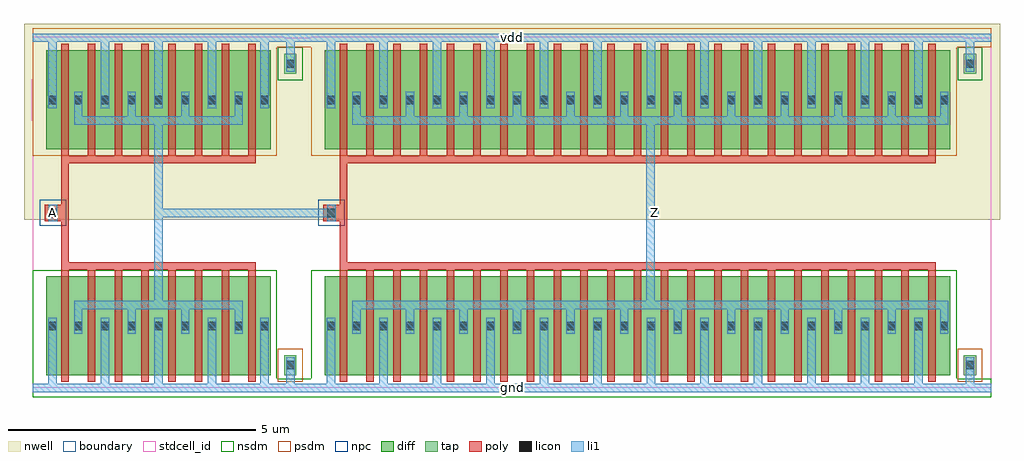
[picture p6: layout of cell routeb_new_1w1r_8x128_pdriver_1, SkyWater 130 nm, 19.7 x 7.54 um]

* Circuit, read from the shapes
.subckt routeb_new_1w1r_8x128_pdriver_1 A Z gnd vdd
XM1 routeb_new_1w1r_8x128_pinv_8_1/A A gnd gnd sky130_fd_pr__nfet_01v8 w=2 l=0.15 m=8
XM2 Z routeb_new_1w1r_8x128_pinv_8_1/A gnd gnd sky130_fd_pr__nfet_01v8 w=2 l=0.15 m=23
XM3 routeb_new_1w1r_8x128_pinv_8_1/A A vdd vdd sky130_fd_pr__pfet_01v8 w=2 l=0.15 m=8
XM4 Z routeb_new_1w1r_8x128_pinv_8_1/A vdd vdd sky130_fd_pr__pfet_01v8 w=2 l=0.15 m=23
.ends

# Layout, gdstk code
import gdstk
lib = gdstk.Library(unit=1e-6, precision=1e-09)
def R(c, l, rs):  # rectangles x0, y0, x1, y1
    for r in rs: c.add(gdstk.rectangle(r[:2], r[2:], *l))
def A(c, l, x, y, w, h, nx, ny, dx, dy):  # array of equal rectangles
    R(c, l, [(x+i*dx, y+j*dy, x+i*dx+w, y+j*dy+h) for i in range(nx) for j in range(ny)])
nwell = (64, 20)
diff = (65, 20)
tap = (65, 44)
poly = (66, 20)
licon = (66, 44)
li1 = (67, 20)
stdcell_id = (81, 4)
nsdm = (93, 44)
psdm = (94, 20)
npc = (95, 20)
boundary = (235, 4)

routeb_new_1w1r_8x128_co = lib.new_cell('routeb_new_1w1r_8x128_contact_11')
R(routeb_new_1w1r_8x128_co, nwell, [(-0.295,-0.255,0.545,0.585)])
R(routeb_new_1w1r_8x128_co, diff, [(0,0.02,0.25,0.31)])
R(routeb_new_1w1r_8x128_co, licon, [(0.04,0.08,0.21,0.25)])
R(routeb_new_1w1r_8x128_co, li1, [(0.04,0,0.21,0.33)])
R(routeb_new_1w1r_8x128_co, stdcell_id, [(-0.295,-0.255,0.545,0.585)])
R(routeb_new_1w1r_8x128_co, psdm, [(-0.125,-0.105,0.375,0.435)])
R(routeb_new_1w1r_8x128_co, boundary, [(-0.295,-0.255,0.545,0.585)])

routeb_new_1w1r_8x128_pm = lib.new_cell('routeb_new_1w1r_8x128_pmos_m8_w2_000_sli_dli_da_p')
R(routeb_new_1w1r_8x128_pm, nwell, [(-0.27,-0.27,4.8,2.27)])
R(routeb_new_1w1r_8x128_pm, diff, [(0,0,4.53,2)])
A(routeb_new_1w1r_8x128_pm, poly, 0.3, -0.13, 0.15, 2.26, 8, 1, 0.54, 0)
R(routeb_new_1w1r_8x128_pm, poly, [(0.3,-0.28,4.23,-0.13)])
A(routeb_new_1w1r_8x128_pm, li1, 0.56, 0.58, 0.17, 0.42, 4, 1, 1.08, 0)
A(routeb_new_1w1r_8x128_pm, li1, 1.1, 0.835, 0.17, 0.33, 3, 1, 1.08, 0)
R(routeb_new_1w1r_8x128_pm, li1, [(0.56,0.495,3.97,0.665), (0.04,0.835,0.21,1.165), (4.32,0.835,4.49,1.165)])
R(routeb_new_1w1r_8x128_pm, stdcell_id, [(-0.27,-0.28,4.8,2.27)])
R(routeb_new_1w1r_8x128_pm, psdm, [(-0.125,-0.125,4.655,2.125)])
R(routeb_new_1w1r_8x128_pm, boundary, [(-0.27,-0.28,4.8,2.27)])
routeb_new_1w1r_8x128_pm.add(gdstk.Reference(routeb_new_1w1r_8x128_co, (0,0.835)))
routeb_new_1w1r_8x128_pm.add(gdstk.Reference(routeb_new_1w1r_8x128_co, (0.52,0.835)))
routeb_new_1w1r_8x128_pm.add(gdstk.Reference(routeb_new_1w1r_8x128_co, (1.06,0.835)))
routeb_new_1w1r_8x128_pm.add(gdstk.Reference(routeb_new_1w1r_8x128_co, (1.6,0.835)))
routeb_new_1w1r_8x128_pm.add(gdstk.Reference(routeb_new_1w1r_8x128_co, (2.14,0.835)))
routeb_new_1w1r_8x128_pm.add(gdstk.Reference(routeb_new_1w1r_8x128_co, (2.68,0.835)))
routeb_new_1w1r_8x128_pm.add(gdstk.Reference(routeb_new_1w1r_8x128_co, (3.22,0.835)))
routeb_new_1w1r_8x128_pm.add(gdstk.Reference(routeb_new_1w1r_8x128_co, (3.76,0.835)))
routeb_new_1w1r_8x128_pm.add(gdstk.Reference(routeb_new_1w1r_8x128_co, (4.28,0.835)))
routeb_new_1w1r_8x128_pm.add(gdstk.Label('G', (2.265,-0.205), layer=66, texttype=5))
routeb_new_1w1r_8x128_pm.add(gdstk.Label('S', (2.265,1), layer=67, texttype=5))
routeb_new_1w1r_8x128_pm.add(gdstk.Label('S', (4.405,1), layer=67, texttype=5))
routeb_new_1w1r_8x128_pm.add(gdstk.Label('S', (0.125,1), layer=67, texttype=5))
routeb_new_1w1r_8x128_pm.add(gdstk.Label('S', (1.185,1), layer=67, texttype=5))
routeb_new_1w1r_8x128_pm.add(gdstk.Label('S', (3.345,1), layer=67, texttype=5))
routeb_new_1w1r_8x128_pm.add(gdstk.Label('D', (2.265,0.58), layer=67, texttype=5))

c_routeb_new_1w1r_8x128_co = lib.new_cell('routeb_new_1w1r_8x128_contact_10')
R(c_routeb_new_1w1r_8x128_co, diff, [(0,0.02,0.25,0.31)])
R(c_routeb_new_1w1r_8x128_co, licon, [(0.04,0.08,0.21,0.25)])
R(c_routeb_new_1w1r_8x128_co, li1, [(0.04,0,0.21,0.33)])
R(c_routeb_new_1w1r_8x128_co, stdcell_id, [(-0.125,-0.105,0.375,0.435)])
R(c_routeb_new_1w1r_8x128_co, nsdm, [(-0.125,-0.105,0.375,0.435)])
R(c_routeb_new_1w1r_8x128_co, boundary, [(-0.125,-0.105,0.375,0.435)])

routeb_new_1w1r_8x128_nm = lib.new_cell('routeb_new_1w1r_8x128_nmos_m8_w2_000_sli_dli_da_p')
R(routeb_new_1w1r_8x128_nm, diff, [(0,0,4.53,2)])
A(routeb_new_1w1r_8x128_nm, poly, 0.3, -0.13, 0.15, 2.26, 8, 1, 0.54, 0)
R(routeb_new_1w1r_8x128_nm, poly, [(0.3,2.13,4.23,2.28)])
A(routeb_new_1w1r_8x128_nm, li1, 1.1, 0.835, 0.17, 0.33, 3, 1, 1.08, 0)
A(routeb_new_1w1r_8x128_nm, li1, 0.56, 1, 0.17, 0.42, 4, 1, 1.08, 0)
R(routeb_new_1w1r_8x128_nm, li1, [(0.04,0.835,0.21,1.165), (4.32,0.835,4.49,1.165), (0.56,1.335,3.97,1.505)])
R(routeb_new_1w1r_8x128_nm, stdcell_id, [(-0.125,-0.13,4.655,2.28)])
R(routeb_new_1w1r_8x128_nm, nsdm, [(-0.125,-0.125,4.655,2.125)])
R(routeb_new_1w1r_8x128_nm, boundary, [(-0.125,-0.13,4.655,2.28)])
routeb_new_1w1r_8x128_nm.add(gdstk.Reference(c_routeb_new_1w1r_8x128_co, (0,0.835)))
routeb_new_1w1r_8x128_nm.add(gdstk.Reference(c_routeb_new_1w1r_8x128_co, (0.52,0.835)))
routeb_new_1w1r_8x128_nm.add(gdstk.Reference(c_routeb_new_1w1r_8x128_co, (1.06,0.835)))
routeb_new_1w1r_8x128_nm.add(gdstk.Reference(c_routeb_new_1w1r_8x128_co, (1.6,0.835)))
routeb_new_1w1r_8x128_nm.add(gdstk.Reference(c_routeb_new_1w1r_8x128_co, (2.14,0.835)))
routeb_new_1w1r_8x128_nm.add(gdstk.Reference(c_routeb_new_1w1r_8x128_co, (2.68,0.835)))
routeb_new_1w1r_8x128_nm.add(gdstk.Reference(c_routeb_new_1w1r_8x128_co, (3.22,0.835)))
routeb_new_1w1r_8x128_nm.add(gdstk.Reference(c_routeb_new_1w1r_8x128_co, (3.76,0.835)))
routeb_new_1w1r_8x128_nm.add(gdstk.Reference(c_routeb_new_1w1r_8x128_co, (4.28,0.835)))
routeb_new_1w1r_8x128_nm.add(gdstk.Label('G', (2.265,2.205), layer=66, texttype=5))
routeb_new_1w1r_8x128_nm.add(gdstk.Label('S', (2.265,1), layer=67, texttype=5))
routeb_new_1w1r_8x128_nm.add(gdstk.Label('S', (4.405,1), layer=67, texttype=5))
routeb_new_1w1r_8x128_nm.add(gdstk.Label('S', (0.125,1), layer=67, texttype=5))
routeb_new_1w1r_8x128_nm.add(gdstk.Label('S', (1.185,1), layer=67, texttype=5))
routeb_new_1w1r_8x128_nm.add(gdstk.Label('S', (3.345,1), layer=67, texttype=5))
routeb_new_1w1r_8x128_nm.add(gdstk.Label('D', (2.265,1.42), layer=67, texttype=5))

c_routeb_new_1w1r_8x128_co_ = lib.new_cell('routeb_new_1w1r_8x128_contact_24')
R(c_routeb_new_1w1r_8x128_co_, nwell, [(-0.295,-0.215,0.545,0.625)])
R(c_routeb_new_1w1r_8x128_co_, tap, [(0,0,0.25,0.41)])
R(c_routeb_new_1w1r_8x128_co_, licon, [(0.04,0.12,0.21,0.29)])
R(c_routeb_new_1w1r_8x128_co_, li1, [(0.04,0.04,0.21,0.37)])
R(c_routeb_new_1w1r_8x128_co_, stdcell_id, [(-0.295,-0.215,0.545,0.625)])
R(c_routeb_new_1w1r_8x128_co_, nsdm, [(-0.125,-0.125,0.375,0.535)])
R(c_routeb_new_1w1r_8x128_co_, boundary, [(-0.295,-0.215,0.545,0.625)])

c_routeb_new_1w1r_8x128_co__ = lib.new_cell('routeb_new_1w1r_8x128_contact_25')
R(c_routeb_new_1w1r_8x128_co__, tap, [(0,0,0.25,0.41)])
R(c_routeb_new_1w1r_8x128_co__, licon, [(0.04,0.12,0.21,0.29)])
R(c_routeb_new_1w1r_8x128_co__, li1, [(0.04,0.04,0.21,0.37)])
R(c_routeb_new_1w1r_8x128_co__, stdcell_id, [(-0.125,-0.125,0.375,0.535)])
R(c_routeb_new_1w1r_8x128_co__, psdm, [(-0.125,-0.125,0.375,0.535)])
R(c_routeb_new_1w1r_8x128_co__, boundary, [(-0.125,-0.125,0.375,0.535)])

c_routeb_new_1w1r_8x128_co___ = lib.new_cell('routeb_new_1w1r_8x128_contact_15')
R(c_routeb_new_1w1r_8x128_co___, poly, [(0,0,0.33,0.33)])
R(c_routeb_new_1w1r_8x128_co___, licon, [(0.08,0.08,0.25,0.25)])
R(c_routeb_new_1w1r_8x128_co___, li1, [(0.08,0,0.25,0.33)])
R(c_routeb_new_1w1r_8x128_co___, stdcell_id, [(-0.1,-0.1,0.43,0.43)])
R(c_routeb_new_1w1r_8x128_co___, npc, [(-0.1,-0.1,0.43,0.43)])
R(c_routeb_new_1w1r_8x128_co___, boundary, [(-0.1,-0.1,0.43,0.43)])

routeb_new_1w1r_8x128_pi = lib.new_cell('routeb_new_1w1r_8x128_pinv_7')
R(routeb_new_1w1r_8x128_pi, nwell, [(-0.18,3.395,5.8,7.355)])
R(routeb_new_1w1r_8x128_pi, poly, [(0.57,2.535,0.72,4.535), (0.405,3.37,0.57,3.7)])
A(routeb_new_1w1r_8x128_pi, li1, 1.37, -0.085, 0.17, 1.175, 3, 1, 1.08, 0)
A(routeb_new_1w1r_8x128_pi, li1, 1.37, 5.65, 0.17, 1.505, 3, 1, 1.08, 0)
R(routeb_new_1w1r_8x128_pi, li1, [(0,-0.085,5.62,0.085), (0.31,-0.085,0.48,1.09), (4.59,-0.085,4.76,1.09), (5.11,0,5.28,0.46), (2.45,1.59,2.62,5.48), (0.32,3.37,0.49,3.7), (2.535,3.45,2.705,3.62), (0.31,5.65,0.48,7.155), (4.59,5.65,4.76,7.155), (5.11,6.545,5.28,7.07), (0,6.985,5.62,7.155)])
R(routeb_new_1w1r_8x128_pi, stdcell_id, [(0,0,5.62,7.07), (0,0,5.62,7.07)])
R(routeb_new_1w1r_8x128_pi, nsdm, [(0,-0.19,5.62,0.19), (0,0,4.925,2.38)])
R(routeb_new_1w1r_8x128_pi, psdm, [(0,4.69,4.925,7.07), (0,6.88,5.62,7.26)])
R(routeb_new_1w1r_8x128_pi, boundary, [(0,0,5.62,7.07), (0,0,5.62,7.07)])
routeb_new_1w1r_8x128_pi.add(gdstk.Reference(routeb_new_1w1r_8x128_pm, (0.27,4.815)))
routeb_new_1w1r_8x128_pi.add(gdstk.Reference(routeb_new_1w1r_8x128_nm, (0.27,0.255)))
routeb_new_1w1r_8x128_pi.add(gdstk.Reference(c_routeb_new_1w1r_8x128_co_, (5.07,6.34)))
routeb_new_1w1r_8x128_pi.add(gdstk.Reference(c_routeb_new_1w1r_8x128_co__, (5.07,0.255)))
routeb_new_1w1r_8x128_pi.add(gdstk.Reference(c_routeb_new_1w1r_8x128_co___, (0.24,3.37)))
routeb_new_1w1r_8x128_pi.add(gdstk.Label('A', (0.405,3.535), layer=67, texttype=5))
routeb_new_1w1r_8x128_pi.add(gdstk.Label('Z', (2.62,3.535), layer=67, texttype=5))
routeb_new_1w1r_8x128_pi.add(gdstk.Label('gnd', (2.81,0), layer=67, texttype=5))
routeb_new_1w1r_8x128_pi.add(gdstk.Label('vdd', (2.81,7.07), layer=67, texttype=5))

c_routeb_new_1w1r_8x128_pm = lib.new_cell('routeb_new_1w1r_8x128_pmos_m23_w2_000_sli_dli_da_p')
R(c_routeb_new_1w1r_8x128_pm, nwell, [(-0.27,-0.27,12.9,2.27)])
R(c_routeb_new_1w1r_8x128_pm, diff, [(0,0,12.63,2)])
A(c_routeb_new_1w1r_8x128_pm, poly, 0.3, -0.13, 0.15, 2.26, 23, 1, 0.54, 0)
R(c_routeb_new_1w1r_8x128_pm, poly, [(0.3,-0.28,12.33,-0.13)])
A(c_routeb_new_1w1r_8x128_pm, li1, 0.56, 0.58, 0.17, 0.42, 11, 1, 1.08, 0)
A(c_routeb_new_1w1r_8x128_pm, li1, 1.1, 0.835, 0.17, 0.33, 11, 1, 1.08, 0)
R(c_routeb_new_1w1r_8x128_pm, li1, [(0.56,0.495,12.59,0.665), (12.42,0.58,12.59,1), (0.04,0.835,0.21,1.165)])
R(c_routeb_new_1w1r_8x128_pm, stdcell_id, [(-0.27,-0.28,12.9,2.27)])
R(c_routeb_new_1w1r_8x128_pm, psdm, [(-0.125,-0.125,12.755,2.125)])
R(c_routeb_new_1w1r_8x128_pm, boundary, [(-0.27,-0.28,12.9,2.27)])
c_routeb_new_1w1r_8x128_pm.add(gdstk.Reference(routeb_new_1w1r_8x128_co, (0,0.835)))
c_routeb_new_1w1r_8x128_pm.add(gdstk.Reference(routeb_new_1w1r_8x128_co, (0.52,0.835)))
c_routeb_new_1w1r_8x128_pm.add(gdstk.Reference(routeb_new_1w1r_8x128_co, (1.06,0.835)))
c_routeb_new_1w1r_8x128_pm.add(gdstk.Reference(routeb_new_1w1r_8x128_co, (1.6,0.835)))
c_routeb_new_1w1r_8x128_pm.add(gdstk.Reference(routeb_new_1w1r_8x128_co, (2.14,0.835)))
c_routeb_new_1w1r_8x128_pm.add(gdstk.Reference(routeb_new_1w1r_8x128_co, (2.68,0.835)))
c_routeb_new_1w1r_8x128_pm.add(gdstk.Reference(routeb_new_1w1r_8x128_co, (3.22,0.835)))
c_routeb_new_1w1r_8x128_pm.add(gdstk.Reference(routeb_new_1w1r_8x128_co, (3.76,0.835)))
c_routeb_new_1w1r_8x128_pm.add(gdstk.Reference(routeb_new_1w1r_8x128_co, (4.3,0.835)))
c_routeb_new_1w1r_8x128_pm.add(gdstk.Reference(routeb_new_1w1r_8x128_co, (4.84,0.835)))
c_routeb_new_1w1r_8x128_pm.add(gdstk.Reference(routeb_new_1w1r_8x128_co, (5.38,0.835)))
c_routeb_new_1w1r_8x128_pm.add(gdstk.Reference(routeb_new_1w1r_8x128_co, (5.92,0.835)))
c_routeb_new_1w1r_8x128_pm.add(gdstk.Reference(routeb_new_1w1r_8x128_co, (6.46,0.835)))
c_routeb_new_1w1r_8x128_pm.add(gdstk.Reference(routeb_new_1w1r_8x128_co, (7,0.835)))
c_routeb_new_1w1r_8x128_pm.add(gdstk.Reference(routeb_new_1w1r_8x128_co, (7.54,0.835)))
c_routeb_new_1w1r_8x128_pm.add(gdstk.Reference(routeb_new_1w1r_8x128_co, (8.08,0.835)))
c_routeb_new_1w1r_8x128_pm.add(gdstk.Reference(routeb_new_1w1r_8x128_co, (8.62,0.835)))
c_routeb_new_1w1r_8x128_pm.add(gdstk.Reference(routeb_new_1w1r_8x128_co, (9.16,0.835)))
c_routeb_new_1w1r_8x128_pm.add(gdstk.Reference(routeb_new_1w1r_8x128_co, (9.7,0.835)))
c_routeb_new_1w1r_8x128_pm.add(gdstk.Reference(routeb_new_1w1r_8x128_co, (10.24,0.835)))
c_routeb_new_1w1r_8x128_pm.add(gdstk.Reference(routeb_new_1w1r_8x128_co, (10.78,0.835)))
c_routeb_new_1w1r_8x128_pm.add(gdstk.Reference(routeb_new_1w1r_8x128_co, (11.32,0.835)))
c_routeb_new_1w1r_8x128_pm.add(gdstk.Reference(routeb_new_1w1r_8x128_co, (11.86,0.835)))
c_routeb_new_1w1r_8x128_pm.add(gdstk.Reference(routeb_new_1w1r_8x128_co, (12.38,0.835)))
c_routeb_new_1w1r_8x128_pm.add(gdstk.Label('G', (6.315,-0.205), layer=66, texttype=5))
c_routeb_new_1w1r_8x128_pm.add(gdstk.Label('S', (2.265,1), layer=67, texttype=5))
c_routeb_new_1w1r_8x128_pm.add(gdstk.Label('S', (10.905,1), layer=67, texttype=5))
c_routeb_new_1w1r_8x128_pm.add(gdstk.Label('S', (7.665,1), layer=67, texttype=5))
c_routeb_new_1w1r_8x128_pm.add(gdstk.Label('S', (8.745,1), layer=67, texttype=5))
c_routeb_new_1w1r_8x128_pm.add(gdstk.Label('S', (6.585,1), layer=67, texttype=5))
c_routeb_new_1w1r_8x128_pm.add(gdstk.Label('S', (0.125,1), layer=67, texttype=5))
c_routeb_new_1w1r_8x128_pm.add(gdstk.Label('S', (9.825,1), layer=67, texttype=5))
c_routeb_new_1w1r_8x128_pm.add(gdstk.Label('S', (11.985,1), layer=67, texttype=5))
c_routeb_new_1w1r_8x128_pm.add(gdstk.Label('S', (1.185,1), layer=67, texttype=5))
c_routeb_new_1w1r_8x128_pm.add(gdstk.Label('S', (4.425,1), layer=67, texttype=5))
c_routeb_new_1w1r_8x128_pm.add(gdstk.Label('S', (5.505,1), layer=67, texttype=5))
c_routeb_new_1w1r_8x128_pm.add(gdstk.Label('S', (3.345,1), layer=67, texttype=5))
c_routeb_new_1w1r_8x128_pm.add(gdstk.Label('D', (6.575,0.58), layer=67, texttype=5))

c_routeb_new_1w1r_8x128_nm = lib.new_cell('routeb_new_1w1r_8x128_nmos_m23_w2_000_sli_dli_da_p')
R(c_routeb_new_1w1r_8x128_nm, diff, [(0,0,12.63,2)])
A(c_routeb_new_1w1r_8x128_nm, poly, 0.3, -0.13, 0.15, 2.26, 23, 1, 0.54, 0)
R(c_routeb_new_1w1r_8x128_nm, poly, [(0.3,2.13,12.33,2.28)])
A(c_routeb_new_1w1r_8x128_nm, li1, 1.1, 0.835, 0.17, 0.33, 11, 1, 1.08, 0)
A(c_routeb_new_1w1r_8x128_nm, li1, 0.56, 1, 0.17, 0.42, 11, 1, 1.08, 0)
R(c_routeb_new_1w1r_8x128_nm, li1, [(0.04,0.835,0.21,1.165), (12.42,1,12.59,1.42), (0.56,1.335,12.59,1.505)])
R(c_routeb_new_1w1r_8x128_nm, stdcell_id, [(-0.125,-0.13,12.755,2.28)])
R(c_routeb_new_1w1r_8x128_nm, nsdm, [(-0.125,-0.125,12.755,2.125)])
R(c_routeb_new_1w1r_8x128_nm, boundary, [(-0.125,-0.13,12.755,2.28)])
c_routeb_new_1w1r_8x128_nm.add(gdstk.Reference(c_routeb_new_1w1r_8x128_co, (0,0.835)))
c_routeb_new_1w1r_8x128_nm.add(gdstk.Reference(c_routeb_new_1w1r_8x128_co, (0.52,0.835)))
c_routeb_new_1w1r_8x128_nm.add(gdstk.Reference(c_routeb_new_1w1r_8x128_co, (1.06,0.835)))
c_routeb_new_1w1r_8x128_nm.add(gdstk.Reference(c_routeb_new_1w1r_8x128_co, (1.6,0.835)))
c_routeb_new_1w1r_8x128_nm.add(gdstk.Reference(c_routeb_new_1w1r_8x128_co, (2.14,0.835)))
c_routeb_new_1w1r_8x128_nm.add(gdstk.Reference(c_routeb_new_1w1r_8x128_co, (2.68,0.835)))
c_routeb_new_1w1r_8x128_nm.add(gdstk.Reference(c_routeb_new_1w1r_8x128_co, (3.22,0.835)))
c_routeb_new_1w1r_8x128_nm.add(gdstk.Reference(c_routeb_new_1w1r_8x128_co, (3.76,0.835)))
c_routeb_new_1w1r_8x128_nm.add(gdstk.Reference(c_routeb_new_1w1r_8x128_co, (4.3,0.835)))
c_routeb_new_1w1r_8x128_nm.add(gdstk.Reference(c_routeb_new_1w1r_8x128_co, (4.84,0.835)))
c_routeb_new_1w1r_8x128_nm.add(gdstk.Reference(c_routeb_new_1w1r_8x128_co, (5.38,0.835)))
c_routeb_new_1w1r_8x128_nm.add(gdstk.Reference(c_routeb_new_1w1r_8x128_co, (5.92,0.835)))
c_routeb_new_1w1r_8x128_nm.add(gdstk.Reference(c_routeb_new_1w1r_8x128_co, (6.46,0.835)))
c_routeb_new_1w1r_8x128_nm.add(gdstk.Reference(c_routeb_new_1w1r_8x128_co, (7,0.835)))
c_routeb_new_1w1r_8x128_nm.add(gdstk.Reference(c_routeb_new_1w1r_8x128_co, (7.54,0.835)))
c_routeb_new_1w1r_8x128_nm.add(gdstk.Reference(c_routeb_new_1w1r_8x128_co, (8.08,0.835)))
c_routeb_new_1w1r_8x128_nm.add(gdstk.Reference(c_routeb_new_1w1r_8x128_co, (8.62,0.835)))
c_routeb_new_1w1r_8x128_nm.add(gdstk.Reference(c_routeb_new_1w1r_8x128_co, (9.16,0.835)))
c_routeb_new_1w1r_8x128_nm.add(gdstk.Reference(c_routeb_new_1w1r_8x128_co, (9.7,0.835)))
c_routeb_new_1w1r_8x128_nm.add(gdstk.Reference(c_routeb_new_1w1r_8x128_co, (10.24,0.835)))
c_routeb_new_1w1r_8x128_nm.add(gdstk.Reference(c_routeb_new_1w1r_8x128_co, (10.78,0.835)))
c_routeb_new_1w1r_8x128_nm.add(gdstk.Reference(c_routeb_new_1w1r_8x128_co, (11.32,0.835)))
c_routeb_new_1w1r_8x128_nm.add(gdstk.Reference(c_routeb_new_1w1r_8x128_co, (11.86,0.835)))
c_routeb_new_1w1r_8x128_nm.add(gdstk.Reference(c_routeb_new_1w1r_8x128_co, (12.38,0.835)))
c_routeb_new_1w1r_8x128_nm.add(gdstk.Label('G', (6.315,2.205), layer=66, texttype=5))
c_routeb_new_1w1r_8x128_nm.add(gdstk.Label('S', (2.265,1), layer=67, texttype=5))
c_routeb_new_1w1r_8x128_nm.add(gdstk.Label('S', (10.905,1), layer=67, texttype=5))
c_routeb_new_1w1r_8x128_nm.add(gdstk.Label('S', (7.665,1), layer=67, texttype=5))
c_routeb_new_1w1r_8x128_nm.add(gdstk.Label('S', (8.745,1), layer=67, texttype=5))
c_routeb_new_1w1r_8x128_nm.add(gdstk.Label('S', (6.585,1), layer=67, texttype=5))
c_routeb_new_1w1r_8x128_nm.add(gdstk.Label('S', (0.125,1), layer=67, texttype=5))
c_routeb_new_1w1r_8x128_nm.add(gdstk.Label('S', (9.825,1), layer=67, texttype=5))
c_routeb_new_1w1r_8x128_nm.add(gdstk.Label('S', (11.985,1), layer=67, texttype=5))
c_routeb_new_1w1r_8x128_nm.add(gdstk.Label('S', (1.185,1), layer=67, texttype=5))
c_routeb_new_1w1r_8x128_nm.add(gdstk.Label('S', (4.425,1), layer=67, texttype=5))
c_routeb_new_1w1r_8x128_nm.add(gdstk.Label('S', (5.505,1), layer=67, texttype=5))
c_routeb_new_1w1r_8x128_nm.add(gdstk.Label('S', (3.345,1), layer=67, texttype=5))
c_routeb_new_1w1r_8x128_nm.add(gdstk.Label('D', (6.575,1.42), layer=67, texttype=5))

c_routeb_new_1w1r_8x128_pi = lib.new_cell('routeb_new_1w1r_8x128_pinv_8')
R(c_routeb_new_1w1r_8x128_pi, nwell, [(-0.18,3.395,13.9,7.355)])
R(c_routeb_new_1w1r_8x128_pi, poly, [(0.57,2.535,0.72,4.535), (0.405,3.37,0.57,3.7)])
A(c_routeb_new_1w1r_8x128_pi, li1, 1.37, -0.085, 0.17, 1.175, 11, 1, 1.08, 0)
A(c_routeb_new_1w1r_8x128_pi, li1, 1.37, 5.65, 0.17, 1.505, 11, 1, 1.08, 0)
R(c_routeb_new_1w1r_8x128_pi, li1, [(0,-0.085,13.72,0.085), (0.31,-0.085,0.48,1.09), (13.21,0,13.38,0.46), (6.76,1.59,6.93,5.48), (0.32,3.37,0.49,3.7), (6.845,3.45,7.015,3.62), (0.31,5.65,0.48,7.155), (13.21,6.545,13.38,7.07), (0,6.985,13.72,7.155)])
R(c_routeb_new_1w1r_8x128_pi, stdcell_id, [(0,0,13.72,7.07), (0,0,13.72,7.07)])
R(c_routeb_new_1w1r_8x128_pi, nsdm, [(0,-0.19,13.72,0.19), (0,0,13.025,2.38)])
R(c_routeb_new_1w1r_8x128_pi, psdm, [(0,4.69,13.025,7.07), (0,6.88,13.72,7.26)])
R(c_routeb_new_1w1r_8x128_pi, boundary, [(0,0,13.72,7.07), (0,0,13.72,7.07)])
c_routeb_new_1w1r_8x128_pi.add(gdstk.Reference(c_routeb_new_1w1r_8x128_pm, (0.27,4.815)))
c_routeb_new_1w1r_8x128_pi.add(gdstk.Reference(c_routeb_new_1w1r_8x128_nm, (0.27,0.255)))
c_routeb_new_1w1r_8x128_pi.add(gdstk.Reference(c_routeb_new_1w1r_8x128_co_, (13.17,6.34)))
c_routeb_new_1w1r_8x128_pi.add(gdstk.Reference(c_routeb_new_1w1r_8x128_co__, (13.17,0.255)))
c_routeb_new_1w1r_8x128_pi.add(gdstk.Reference(c_routeb_new_1w1r_8x128_co___, (0.24,3.37)))
c_routeb_new_1w1r_8x128_pi.add(gdstk.Label('A', (0.405,3.535), layer=67, texttype=5))
c_routeb_new_1w1r_8x128_pi.add(gdstk.Label('Z', (6.93,3.535), layer=67, texttype=5))
c_routeb_new_1w1r_8x128_pi.add(gdstk.Label('gnd', (6.86,0), layer=67, texttype=5))
c_routeb_new_1w1r_8x128_pi.add(gdstk.Label('vdd', (6.86,7.07), layer=67, texttype=5))

routeb_new_1w1r_8x128_pd = lib.new_cell('routeb_new_1w1r_8x128_pdriver_1')
R(routeb_new_1w1r_8x128_pd, nwell, [(-0.18,3.395,19.52,7.355)])
R(routeb_new_1w1r_8x128_pd, li1, [(0,-0.085,19.34,0.085), (0.32,3.37,0.49,3.7), (2.62,3.45,6.025,3.62), (12.465,3.45,12.635,3.62), (0,6.985,19.34,7.155)])
R(routeb_new_1w1r_8x128_pd, stdcell_id, [(0,0,19.34,7.07), (0,0,19.34,7.07)])
R(routeb_new_1w1r_8x128_pd, nsdm, [(0,-0.19,19.34,0.19)])
R(routeb_new_1w1r_8x128_pd, psdm, [(0,6.88,19.34,7.26)])
R(routeb_new_1w1r_8x128_pd, boundary, [(0,0,19.34,7.07), (0,0,19.34,7.07)])
routeb_new_1w1r_8x128_pd.add(gdstk.Reference(routeb_new_1w1r_8x128_pi, (0,0)))
routeb_new_1w1r_8x128_pd.add(gdstk.Reference(c_routeb_new_1w1r_8x128_pi, (5.62,0)))
routeb_new_1w1r_8x128_pd.add(gdstk.Label('Z', (12.55,3.535), layer=67, texttype=5))
routeb_new_1w1r_8x128_pd.add(gdstk.Label('A', (0.405,3.535), layer=67, texttype=5))
routeb_new_1w1r_8x128_pd.add(gdstk.Label('gnd', (9.67,0), layer=67, texttype=5))
routeb_new_1w1r_8x128_pd.add(gdstk.Label('vdd', (9.67,7.07), layer=67, texttype=5))

lib.write_gds('routeb_new_1w1r_8x128_pdriver_1.gds')
